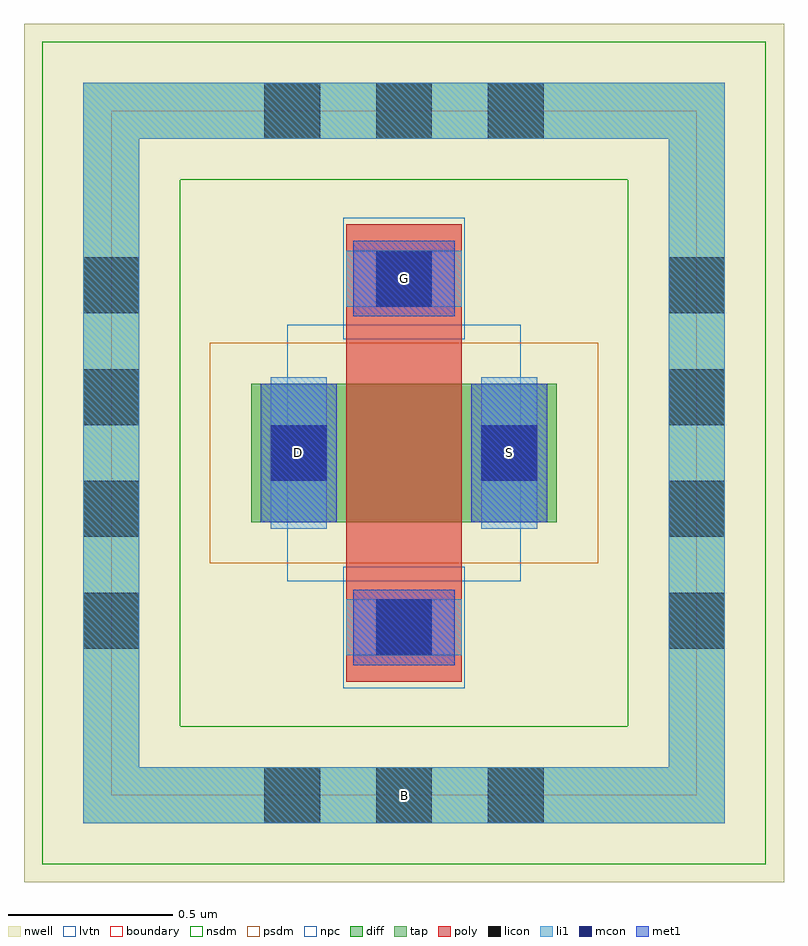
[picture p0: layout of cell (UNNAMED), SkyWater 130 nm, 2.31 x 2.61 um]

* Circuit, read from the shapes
.subckt (UNNAMED) B D G S
XM1 S G D B sky130_fd_pr__pfet_01v8_lvt w=0.42 l=0.35
.ends

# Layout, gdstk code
import gdstk
lib = gdstk.Library(unit=1e-6, precision=1e-09)
def R(c, l, rs):  # rectangles x0, y0, x1, y1
    for r in rs: c.add(gdstk.rectangle(r[:2], r[2:], *l))
def A(c, l, x, y, w, h, nx, ny, dx, dy):  # array of equal rectangles
    R(c, l, [(x+i*dx, y+j*dy, x+i*dx+w, y+j*dy+h) for i in range(nx) for j in range(ny)])
nwell = (64, 20)
diff = (65, 20)
tap = (65, 44)
poly = (66, 20)
licon = (66, 44)
li1 = (67, 20)
mcon = (67, 44)
met1 = (68, 20)
nsdm = (93, 44)
psdm = (94, 20)
npc = (95, 20)
lvtn = (125, 44)
boundary = (235, 4)

c__unnamed_ = lib.new_cell('(UNNAMED)')
R(c__unnamed_, nwell, [(-1.155,-1.305,1.155,1.305)])
R(c__unnamed_, diff, [(-0.465,-0.21,0.465,0.21)])
R(c__unnamed_, tap, [(-0.975,-1.125,0.975,-0.955), (-0.975,-0.955,-0.805,0.955), (0.805,-0.955,0.975,0.955), (-0.975,0.955,0.975,1.125)])
R(c__unnamed_, poly, [(-0.175,-0.695,0.175,0.695)])
A(c__unnamed_, licon, -0.425, -1.125, 0.17, 0.17, 3, 2, 0.34, 2.08)
A(c__unnamed_, licon, -0.975, -0.595, 0.17, 0.17, 1, 4, 0, 0.34)
A(c__unnamed_, licon, 0.805, -0.595, 0.17, 0.17, 1, 4, 0, 0.34)
R(c__unnamed_, licon, [(-0.085,-0.615,0.085,-0.445), (-0.405,-0.085,-0.235,0.085), (0.235,-0.085,0.405,0.085), (-0.085,0.445,0.085,0.615)])
R(c__unnamed_, li1, [(-0.975,-1.125,0.975,-0.955), (-0.975,-0.955,-0.805,0.955), (0.805,-0.955,0.975,0.955), (-0.175,-0.615,0.175,-0.445), (-0.405,-0.23,-0.235,0.23), (0.235,-0.23,0.405,0.23), (-0.175,0.445,0.175,0.615), (-0.975,0.955,0.975,1.125)])
R(c__unnamed_, mcon, [(-0.085,-0.615,0.085,-0.445), (-0.405,-0.085,-0.235,0.085), (0.235,-0.085,0.405,0.085), (-0.085,0.445,0.085,0.615)])
R(c__unnamed_, met1, [(-0.155,-0.645,0.155,-0.415), (-0.435,-0.21,-0.205,0.21), (0.205,-0.21,0.435,0.21), (-0.155,0.415,0.155,0.645)])
R(c__unnamed_, nsdm, [(-1.1,-1.25,1.1,-0.83), (-1.1,-0.83,-0.68,0.83), (0.68,-0.83,1.1,0.83), (-1.1,0.83,1.1,1.25)])
R(c__unnamed_, psdm, [(-0.59,-0.335,0.59,0.335)])
R(c__unnamed_, npc, [(-0.185,-0.715,0.185,-0.345), (-0.185,0.345,0.185,0.715)])
R(c__unnamed_, lvtn, [(-0.355,-0.39,0.355,0.39)])
R(c__unnamed_, boundary, [(-0.89,-1.04,0.89,1.04)])
c__unnamed_.add(gdstk.Label('B', (0,-1.04), layer=67, texttype=5))
c__unnamed_.add(gdstk.Label('D', (-0.32,0), layer=67, texttype=5))
c__unnamed_.add(gdstk.Label('S', (0.32,0), layer=67, texttype=5))
c__unnamed_.add(gdstk.Label('G', (0,0.53), layer=67, texttype=5))

lib.write_gds('_UNNAMED_.gds')
